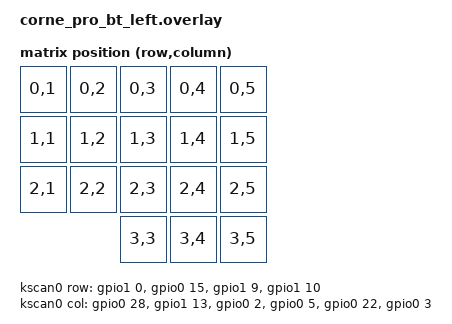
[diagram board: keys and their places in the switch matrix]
/*
 * Copyright (c) 2021 Mike "KemoNine" Crosson
 *
 * SPDX-License-Identifier: MIT
 */

#include <dt-bindings/zmk/matrix_transform.h>

&pro_micro_i2c {
	status = "okay";

	oled: ssd1306@3c {
		compatible = "solomon,ssd1306fb";
		reg = <0x3c>;
		label = "DISPLAY";
		width = <128>;
		height = <32>;
		segment-offset = <0>;
		page-offset = <0>;
		display-offset = <0>;
		multiplex-ratio = <31>;
		segment-remap;
		com-invdir;
		com-sequential;
		prechargep = <0x22>;
		inversion-on;
	};
};

/ {
	chosen {
		zmk,kscan = &kscan0;
		zmk,matrix_transform = &default_transform;
		zephyr,display = &oled;
	};

	default_transform: keymap_transform_0 {
		compatible = "zmk,matrix-transform";
		columns = <6>;
		rows = <4>;
// | SW2  | SW3  | SW4  | SW5  | SW6  |
// | SW8  | SW9  | SW10 | SW11 | SW12 |
// | SW14 | SW15 | SW16 | SW17 | SW18 |
//               | SW19 | SW20 | SW21 |
		map = <
RC(0,1) RC(0,2) RC(0,3) RC(0,4) RC(0,5)
RC(1,1) RC(1,2) RC(1,3) RC(1,4) RC(1,5)
RC(2,1) RC(2,2) RC(2,3) RC(2,4) RC(2,5)
                RC(3,3) RC(3,4) RC(3,5)
		>;
	};

	kscan0: kscan {
		compatible = "zmk,kscan-gpio-matrix";
		label = "KSCAN";

		diode-direction = "col2row";
		row-gpios
			= <&gpio1  0 (GPIO_ACTIVE_HIGH | GPIO_PULL_DOWN)>
			, <&gpio0 15 (GPIO_ACTIVE_HIGH | GPIO_PULL_DOWN)>
			, <&gpio1  9 (GPIO_ACTIVE_HIGH | GPIO_PULL_DOWN)>
			, <&gpio1 10 (GPIO_ACTIVE_HIGH | GPIO_PULL_DOWN)>
			;
		
		col-gpios
			= <&gpio0 28 GPIO_ACTIVE_HIGH>
			, <&gpio1 13 GPIO_ACTIVE_HIGH>
			, <&gpio0  2 GPIO_ACTIVE_HIGH>
			, <&gpio0  5 GPIO_ACTIVE_HIGH>
			, <&gpio0 22 GPIO_ACTIVE_HIGH>
			, <&gpio0  3 GPIO_ACTIVE_HIGH>
			;
	};
};
